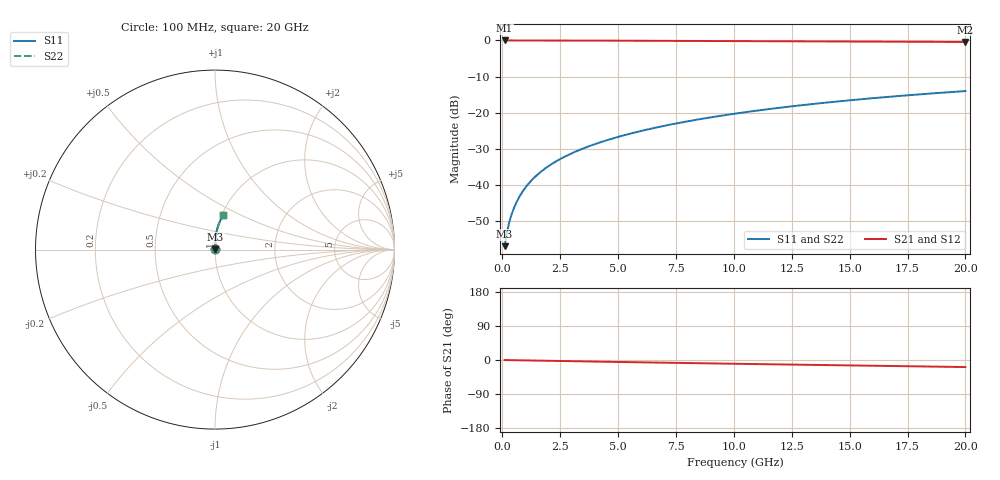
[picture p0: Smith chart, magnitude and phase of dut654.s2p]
! Touchstone file exported from HFSS 2024.1.0
!  File:  C:/UserFiles/LocalFiles/RDL_TSV_Batchsim/temp_RDL_bottom_654_1779785491.aedt
!  Generated:  04:53:55 PM May 26, 2026
!  Design:  RDL_bottom
!  Project:  temp_RDL_bottom_654_1779785491
!  Setup:  Setup1
!  Solution:  Sweep
! Variables:
!  dtsv = 10.80580581um
!  hbump = 3um
!  htsv = 91.14um
!  ldown = 241.42um
!  lrdl = 100um
!  p = 40
!  p1 = 47.72um
!  rhole = 1um
!  t = 450um
!  tdown = 4.9um
!  trdl = 3.915915916um
!  wdown = 19.99um
!  wrdl = 20um
# GHz S MA R 50.000000
! Terminal data exported
! Port[1] = RDL1_T1
! Port[2] = RDL1_T2
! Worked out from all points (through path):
!   200 points, 100 MHz to 20 GHz, reference 50 ohm
!   highest |S21| = -0.01 dB at 100 MHz (marker M1); lowest = -0.4 dB at 20 GHz (marker M2)
!   group delay of S21, straight-line fit = 2.56 ps
!   lowest |S11| = -57.0 dB at 100 MHz (marker M3), VSWR 1.00, Z = 50.1 + j0.0977 ohm
!   |S11| at or under -10 dB: start of sweep to end of sweep
!   |S22| runs from -57.0 to -14.0 dB; largest |S21 - S12| = 3.1e-15
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0.1  0.001412 43.7  0.999 -0.1  0.999 -0.1  0.001412 43.7
! Gamma 0 0 0 0
! Port Impedance 50 0 50 0
0.2  0.002188 60.6  0.9989 -0.2  0.9989 -0.2  0.002188 60.6
0.3  0.003022 68.3  0.9988 -0.3  0.9988 -0.3  0.003022 68.3
0.4  0.003875 72.9  0.9988 -0.4  0.9988 -0.4  0.003875 72.9
0.5  0.004741 75.8  0.9987 -0.5  0.9987 -0.5  0.004741 75.8
0.6  0.005616 77.9  0.9987 -0.6  0.9987 -0.6  0.005616 77.9
0.8  0.007384 80.7  0.9985 -0.9  0.9985 -0.9  0.007384 80.7
1.1  0.01006 83.1  0.9983 -1.2  0.9983 -1.2  0.01006 83.1
1.5  0.01366 84.8  0.998 -1.6  0.998 -1.6  0.01366 84.8
1.8  0.01637 85.6  0.9977 -1.9  0.9977 -1.9  0.01637 85.6
2.1  0.01909 86.1  0.9973 -2.2  0.9973 -2.2  0.01909 86.1
2.7  0.02456 86.8  0.9964 -2.9  0.9964 -2.9  0.02456 86.8
3.5  0.03193 87.3  0.995 -3.7  0.995 -3.7  0.03193 87.3
4.2  0.03847 87.5  0.9935 -4.4  0.9935 -4.4  0.03847 87.5
5  0.04607 87.6  0.9917 -5.2  0.9917 -5.2  0.04607 87.6
5.9  0.05478 87.5  0.9896 -6.1  0.9896 -6.1  0.05478 87.5
6.8  0.06365 87.3  0.9873 -6.9  0.9873 -6.9  0.06365 87.3
8.4  0.07978 86.5  0.9831 -8.4  0.9831 -8.4  0.07978 86.5
10.1  0.09727 85.4  0.9786 -10.0  0.9786 -10.0  0.09727 85.4
13.4  0.1316 82.6  0.9698 -12.9  0.9698 -12.9  0.1316 82.6
16.7  0.1656 79.5  0.961 -15.8  0.961 -15.8  0.1656 79.5
20  0.1988 76.3  0.9519 -18.6  0.9519 -18.6  0.1988 76.3
